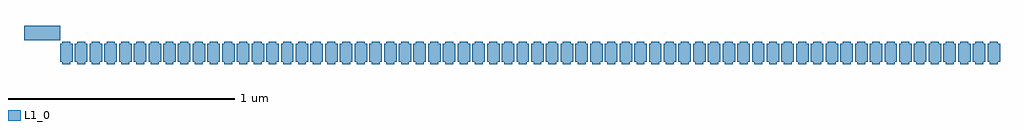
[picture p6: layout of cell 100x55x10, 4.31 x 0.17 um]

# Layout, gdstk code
import gdstk
lib = gdstk.Library(unit=1e-6, precision=1e-09)
def R(c, l, rs):  # rectangles x0, y0, x1, y1
    for r in rs: c.add(gdstk.rectangle(r[:2], r[2:], *l))
def P(c, l, *ps):  # polygons
    for p in ps: c.add(gdstk.Polygon(p, *l))
L1_0 = (1, 0)

c_100x55single = lib.new_cell('100x55single')
P(c_100x55single, L1_0, [(0,0),(0.01,0),(0.01,-0.01),(0.045,-0.01),(0.045,0),(0.055,0),(0.055,0.08),(0.045,0.08),(0.045,0.09),(0.01,0.09),(0.01,0.08),(0,0.08)])

c_100x55x10 = lib.new_cell('100x55x10')
R(c_100x55x10, L1_0, [(-0.16,0.105,0,0.17)])
r = gdstk.Reference(c_100x55single, (0,0.01)); r.repetition = gdstk.Repetition(64, 1, v1=(0.065,0), v2=(0,0)); c_100x55x10.add(r)

lib.write_gds('100x55x10.gds')
